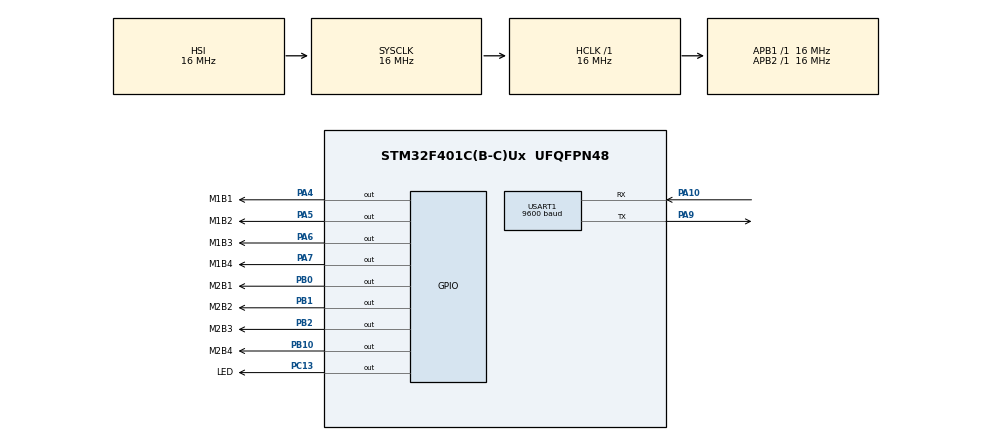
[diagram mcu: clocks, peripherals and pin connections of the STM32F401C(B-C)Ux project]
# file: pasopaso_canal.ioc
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Dma.Request0=USART1_RX
Dma.USART1_RX.0.Direction=DMA_PERIPH_TO_MEMORY
Dma.USART1_RX.0.FIFOMode=DMA_FIFOMODE_DISABLE
Dma.USART1_RX.0.Instance=DMA2_Stream2
Dma.USART1_RX.0.MemDataAlignment=DMA_MDATAALIGN_BYTE
Dma.USART1_RX.0.MemInc=DMA_MINC_ENABLE
Dma.USART1_RX.0.Mode=DMA_NORMAL
Dma.USART1_RX.0.PeriphDataAlignment=DMA_PDATAALIGN_BYTE
Dma.USART1_RX.0.PeriphInc=DMA_PINC_DISABLE
Dma.USART1_RX.0.Priority=DMA_PRIORITY_LOW
Mcu.Family=STM32F4
Mcu.Name=STM32F401C(B-C)Ux
Mcu.Package=UFQFPN48
NVIC.DMA2_Stream2_IRQn=true\:0\:0\:false\:false\:true\:false\:true\:true
NVIC.PriorityGroup=NVIC_PRIORITYGROUP_4
NVIC.USART1_IRQn=true\:0\:0\:false\:false\:true\:true\:true\:true
PA10.Mode=Asynchronous
PA10.Signal=USART1_RX
PA4.GPIO_Label=M1B1
PA4.Signal=GPIO_Output
PA5.GPIO_Label=M1B2
PA5.Signal=GPIO_Output
PA6.GPIO_Label=M1B3
PA6.Signal=GPIO_Output
PA7.GPIO_Label=M1B4
PA7.Signal=GPIO_Output
PA9.Mode=Asynchronous
PA9.Signal=USART1_TX
PB0.GPIO_Label=M2B1
PB0.Signal=GPIO_Output
PB1.GPIO_Label=M2B2
PB1.Signal=GPIO_Output
PB10.GPIO_Label=M2B4
PB10.Signal=GPIO_Output
PB2.GPIO_Label=M2B3
PB2.Signal=GPIO_Output
PC13-ANTI_TAMP.GPIO_Label=LED
PC13-ANTI_TAMP.Signal=GPIO_Output
ProjectManager.HeapSize=0x200
ProjectManager.StackSize=0x400
ProjectManager.TargetToolchain=STM32CubeIDE
RCC.AHBFreq_Value=16000000
RCC.APB1Freq_Value=16000000
RCC.APB2Freq_Value=16000000
RCC.CortexFreq_Value=16000000
RCC.HSE_VALUE=25000000
RCC.HSI_VALUE=16000000
RCC.LSE_VALUE=32768
RCC.SYSCLKFreq_VALUE=16000000
RCC.VCOOutputFreq_Value=192000000
USART1.BaudRate=9600
USART1.VirtualMode=VM_ASYNC
board=custom

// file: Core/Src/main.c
/* USER CODE BEGIN Header */
/**
  ******************************************************************************
  * @file           : main.c
  * @brief          : Main program body
  ******************************************************************************
  * @attention
  *
  * Copyright (c) 2024 STMicroelectronics.
  * All rights reserved.
  *
  * This software is licensed under terms that can be found in the LICENSE file
  * in the root directory of this software component.
  * If no LICENSE file comes with this software, it is provided AS-IS.
  *
  ******************************************************************************
  */
/* USER CODE END Header */
#include "main.h"

/* USER CODE BEGIN Includes */
#include "Pasopaso.h"
#include "uart_int_idle_dma.h"
/* USER CODE END Includes */

UART_HandleTypeDef huart1;
DMA_HandleTypeDef hdma_usart1_rx;

/* USER CODE BEGIN PV */
uint8_t trama_rx[trama_size];
char flag_rx=0;
uint16_t num_datos;
//para procesarx
  char procesa[30];
  char dato;
/* USER CODE END PV */

void SystemClock_Config(void);
static void MX_GPIO_Init(void);
static void MX_DMA_Init(void);
static void MX_USART1_UART_Init(void);

/* USER CODE BEGIN 0 */
void procesarx()
{
//UART1_Write_Text(trama_rx);
if (strstr(trama_rx,"m1der*"))     estado_giro1=derecha;
else if (strstr(trama_rx,"m1izq*")) estado_giro1=izquierda;
else if (strstr(trama_rx,"m1stop*"))   estado_giro1=quieto;
else if (strstr(trama_rx,"m2der*"))  estado_giro2=derecha;
else if (strstr(trama_rx,"m2izq*")) estado_giro2=izquierda;
else if (strstr(trama_rx,"m2stop*"))   estado_giro2=quieto;

else if (strstr(trama_rx,"vel1"))
   {
       strcpy(procesa, strtok(trama_rx, "="));  //inicia captura de tokens desde el =
       strcpy(procesa, strtok(0, "*"));  //captura hasta el /
       //pasa la cadena a  numero
        dato=atoi(procesa);
       estado_modo1=continuo;
        velo_m1=dato;// carga el dato a la velocidad del motor

   }

else if (strstr(trama_rx,"vel2"))
   {
       strcpy(procesa, strtok(trama_rx, "="));  //inicia captura de tokens desde el =
       strcpy(procesa, strtok(0, "*"));  //captura hasta el /
       //pasa la cadena a  numero
       dato=atoi(procesa);
       estado_modo2=continuo;
        velo_m2=dato;// carga el dato a la velocidad del motor

   }

else if (strstr(trama_rx,"pap1"))
   {
       strcpy(procesa, strtok(trama_rx, "="));  //inicia captura de tokens desde el =
       strcpy(procesa, strtok(0, "*"));  //captura hasta el /
       //pasa la cadena a  numero
       dato=atoi(procesa);

        pasos1=0; //limpia el contador de pasos
       estado_modo1=pasos;  //pasa a modo pasos
       n_pasos1=dato;// carga numero de pasos a dar del motor1
   }

else if (strstr(trama_rx,"pap2"))
   {
       strcpy(procesa, strtok(trama_rx, "="));  //inicia captura de tokens desde el =
       strcpy(procesa, strtok(0, "*"));  //captura hasta el /
       //pasa la cadena a  numero
       dato=atoi(procesa);

        pasos2=0; //limpia el contador de pasos
       estado_modo2=pasos;  //pasa a modo pasos
       n_pasos2=dato;// carga numero de pasos a dar del motor2
   }

   memset(trama_rx,0,30);
}
/* USER CODE END 0 */

int main(void)
{

  /* MCU Configuration--------------------------------------------------------*/

  /* Reset of all peripherals, Initializes the Flash interface and the Systick. */
  HAL_Init();

  /* Configure the system clock */
  SystemClock_Config();

  /* Initialize all configured peripherals */
  MX_GPIO_Init();
  MX_DMA_Init();
  MX_USART1_UART_Init();
  /* USER CODE BEGIN 2 */

    estado_giro1=izquierda;
    estado_giro2=derecha;

    velo_m1=50;
    velo_m2=30;

    n_pasos2=5;

    estado_modo1=continuo;
    estado_modo2=pasos;
    uartdat_it_idle_dma_init();
  /* USER CODE END 2 */

  /* Infinite loop */
  /* USER CODE BEGIN WHILE */
  while (1)
  {
	 /* HAL_Delay(3000);
	  estado_giro1=derecha;
	  velo_m1=70;
	  estado_modo2=continuo;
	  estado_giro2=izquierda;
*/
	  if(flag_rx==1)
	        {
	 		  procesarx();
	 		  flag_rx=0;
	 		 uartdat_it_idle_dma_init();
	 		 }

    /* USER CODE END WHILE */

  }
}

void SystemClock_Config(void)
{
  RCC_OscInitTypeDef RCC_OscInitStruct = {0};
  RCC_ClkInitTypeDef RCC_ClkInitStruct = {0};

  /** Configure the main internal regulator output voltage
  */
  __HAL_RCC_PWR_CLK_ENABLE();
  __HAL_PWR_VOLTAGESCALING_CONFIG(PWR_REGULATOR_VOLTAGE_SCALE2);

  /** Initializes the RCC Oscillators according to the specified parameters
  * in the RCC_OscInitTypeDef structure.
  */
  RCC_OscInitStruct.OscillatorType = RCC_OSCILLATORTYPE_HSI;
  RCC_OscInitStruct.HSIState = RCC_HSI_ON;
  RCC_OscInitStruct.HSICalibrationValue = RCC_HSICALIBRATION_DEFAULT;
  RCC_OscInitStruct.PLL.PLLState = RCC_PLL_NONE;
  if (HAL_RCC_OscConfig(&RCC_OscInitStruct) != HAL_OK)
  {
    Error_Handler();
  }

  /** Initializes the CPU, AHB and APB buses clocks
  */
  RCC_ClkInitStruct.ClockType = RCC_CLOCKTYPE_HCLK|RCC_CLOCKTYPE_SYSCLK
                              |RCC_CLOCKTYPE_PCLK1|RCC_CLOCKTYPE_PCLK2;
  RCC_ClkInitStruct.SYSCLKSource = RCC_SYSCLKSOURCE_HSI;
  RCC_ClkInitStruct.AHBCLKDivider = RCC_SYSCLK_DIV1;
  RCC_ClkInitStruct.APB1CLKDivider = RCC_HCLK_DIV1;
  RCC_ClkInitStruct.APB2CLKDivider = RCC_HCLK_DIV1;

  if (HAL_RCC_ClockConfig(&RCC_ClkInitStruct, FLASH_LATENCY_0) != HAL_OK)
  {
    Error_Handler();
  }
}

static void MX_USART1_UART_Init(void)
{

  huart1.Instance = USART1;
  huart1.Init.BaudRate = 9600;
  huart1.Init.WordLength = UART_WORDLENGTH_8B;
  huart1.Init.StopBits = UART_STOPBITS_1;
  huart1.Init.Parity = UART_PARITY_NONE;
  huart1.Init.Mode = UART_MODE_TX_RX;
  huart1.Init.HwFlowCtl = UART_HWCONTROL_NONE;
  huart1.Init.OverSampling = UART_OVERSAMPLING_16;
  if (HAL_UART_Init(&huart1) != HAL_OK)
  {
    Error_Handler();
  }

}

static void MX_DMA_Init(void)
{

  /* DMA controller clock enable */
  __HAL_RCC_DMA2_CLK_ENABLE();

  /* DMA interrupt init */
  /* DMA2_Stream2_IRQn interrupt configuration */
  HAL_NVIC_SetPriority(DMA2_Stream2_IRQn, 0, 0);
  HAL_NVIC_EnableIRQ(DMA2_Stream2_IRQn);

}

static void MX_GPIO_Init(void)
{
  GPIO_InitTypeDef GPIO_InitStruct = {0};

  /* GPIO Ports Clock Enable */
  __HAL_RCC_GPIOC_CLK_ENABLE();
  __HAL_RCC_GPIOA_CLK_ENABLE();
  __HAL_RCC_GPIOB_CLK_ENABLE();

  /*Configure GPIO pin Output Level */
  HAL_GPIO_WritePin(LED_GPIO_Port, LED_Pin, GPIO_PIN_RESET);

  /*Configure GPIO pin Output Level */
  HAL_GPIO_WritePin(GPIOA, M1B1_Pin|M1B2_Pin|M1B3_Pin|M1B4_Pin, GPIO_PIN_RESET);

  /*Configure GPIO pin Output Level */
  HAL_GPIO_WritePin(GPIOB, M2B1_Pin|M2B2_Pin|M2B3_Pin|M2B4_Pin, GPIO_PIN_RESET);

  /*Configure GPIO pin : LED_Pin */
  GPIO_InitStruct.Pin = LED_Pin;
  GPIO_InitStruct.Mode = GPIO_MODE_OUTPUT_PP;
  GPIO_InitStruct.Pull = GPIO_NOPULL;
  GPIO_InitStruct.Speed = GPIO_SPEED_FREQ_LOW;
  HAL_GPIO_Init(LED_GPIO_Port, &GPIO_InitStruct);

  /*Configure GPIO pins : M1B1_Pin M1B2_Pin M1B3_Pin M1B4_Pin */
  GPIO_InitStruct.Pin = M1B1_Pin|M1B2_Pin|M1B3_Pin|M1B4_Pin;
  GPIO_InitStruct.Mode = GPIO_MODE_OUTPUT_PP;
  GPIO_InitStruct.Pull = GPIO_NOPULL;
  GPIO_InitStruct.Speed = GPIO_SPEED_FREQ_LOW;
  HAL_GPIO_Init(GPIOA, &GPIO_InitStruct);

  /*Configure GPIO pins : M2B1_Pin M2B2_Pin M2B3_Pin M2B4_Pin */
  GPIO_InitStruct.Pin = M2B1_Pin|M2B2_Pin|M2B3_Pin|M2B4_Pin;
  GPIO_InitStruct.Mode = GPIO_MODE_OUTPUT_PP;
  GPIO_InitStruct.Pull = GPIO_NOPULL;
  GPIO_InitStruct.Speed = GPIO_SPEED_FREQ_LOW;
  HAL_GPIO_Init(GPIOB, &GPIO_InitStruct);

}

void Error_Handler(void)
{
  __disable_irq();
  while (1)
  {
  }
}
